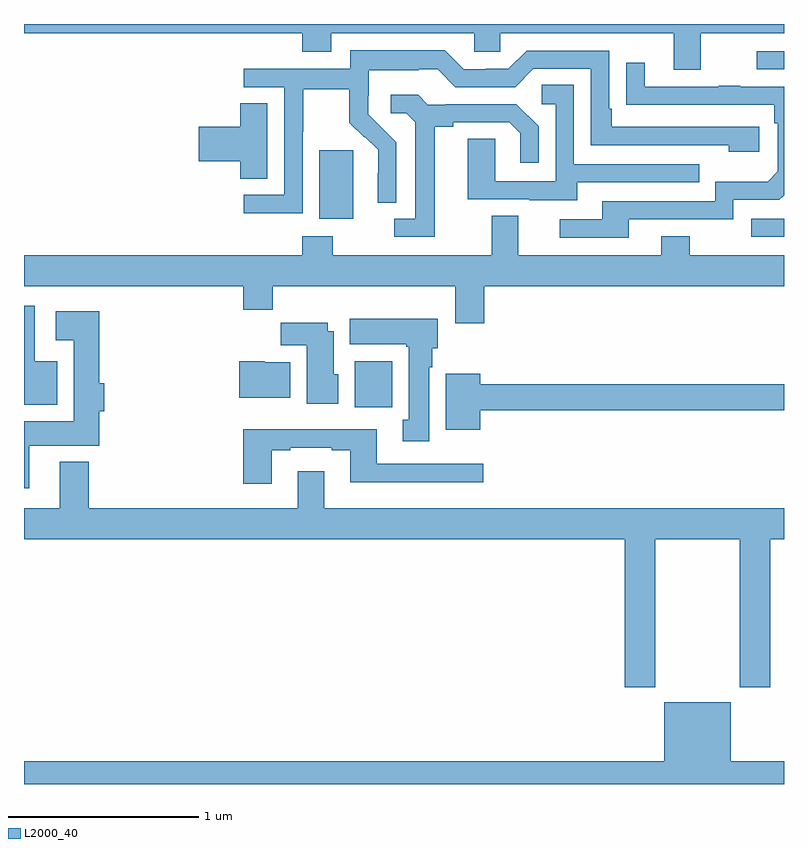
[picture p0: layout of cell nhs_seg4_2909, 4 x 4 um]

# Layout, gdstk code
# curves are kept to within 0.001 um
import gdstk
lib = gdstk.Library(unit=1e-6, precision=1e-09)
def R(c, l, rs):  # rectangles x0, y0, x1, y1
    for r in rs: c.add(gdstk.rectangle(r[:2], r[2:], *l))
def P(c, l, *ps):  # polygons
    for p in ps: c.add(gdstk.Polygon(p, *l))
L2000_40 = (2000, 40)

nhs_seg4_2909 = lib.new_cell('nhs_seg4_2909')
R(nhs_seg4_2909, L2000_40, [(266.741,762.884,266.938,763.126), (268.827,763.779,269,763.875), (266.555,763.874,266.734,764.235), (268.857,764.661,269,764.757)])
P(nhs_seg4_2909, L2000_40, [(268.561,764.852),(269,764.852),(269,764.9),(265,764.9),(265,764.852),(266.465,764.852),(266.465,764.753),(266.617,764.753),(266.617,764.852),(267.369,764.852),(267.369,764.754),(267.507,764.754),(267.507,764.852),(268.421,764.852),(268.421,764.658),(268.561,764.658)],
  [(266.466,764.332),(266.469,764.332),(266.469,764.556),(266.713,764.556),(266.713,764.381),(266.79,764.304),(266.793,764.307),(266.864,764.237),(266.864,764.114),(266.862,764.114),(266.862,763.96),(266.958,763.96),(266.958,764.278),(266.812,764.426),(266.812,764.523),(266.814,764.523),(266.814,764.657),(267.077,764.657),(267.077,764.661),(267.177,764.661),(267.27,764.568),(267.585,764.568),(267.681,764.664),(267.984,764.664),(267.984,764.262),(268.709,764.262),(268.709,764.228),(268.87,764.228),(268.87,764.358),(268.093,764.358),(268.093,764.455),(268.08,764.455),(268.08,764.76),(267.645,764.76),(267.549,764.664),(267.431,764.664),(267.431,764.661),(267.315,764.661),(267.215,764.761),(266.718,764.761),(266.718,764.664),(266.157,764.664),(266.157,764.568),(266.37,764.568),(266.37,764.001),(266.157,764.001),(266.157,763.903),(266.466,763.903)],
  [(268.183,763.872),(268.734,763.872),(268.734,763.974),(268.974,763.974),(269,764),(269,764.571),(268.769,764.571),(268.769,764.576),(268.657,764.576),(268.657,764.571),(268.267,764.571),(268.267,764.695),(268.171,764.695),(268.171,764.476),(268.948,764.475),(268.948,764.378),(268.968,764.378),(268.968,764.124),(268.915,764.071),(268.638,764.071),(268.638,763.968),(268.043,763.968),(268.043,763.872),(267.819,763.872),(267.819,763.776),(268.183,763.776)],
  [(267.913,764.067),(268.553,764.067),(268.553,764.163),(267.894,764.163),(267.894,764.579),(267.726,764.579),(267.726,764.478),(267.798,764.478),(267.798,764.073),(267.48,764.073),(267.48,764.297),(267.335,764.297),(267.335,763.977),(267.659,763.977),(267.659,763.973),(267.913,763.973)],
  [(267.163,764.36),(267.259,764.36),(267.259,764.382),(267.554,764.382),(267.611,764.325),(267.611,764.169),(267.708,764.169),(267.708,764.362),(267.592,764.478),(267.22,764.478),(267.22,764.475),(267.126,764.475),(267.074,764.527),(266.931,764.527),(266.931,764.43),(267.012,764.43),(267.059,764.383),(267.059,763.875),(266.949,763.875),(266.949,763.779),(267.163,763.779)],
  [(266.281,764.483),(266.138,764.483),(266.138,764.36),(265.92,764.36),(265.92,764.177),(266.138,764.177),(266.138,764.086),(266.281,764.086)],
  [(267.422,763.52),(269,763.52),(269,763.684),(268.503,763.684),(268.503,763.783),(268.355,763.783),(268.355,763.684),(267.601,763.684),(267.601,763.892),(267.461,763.892),(267.461,763.684),(266.625,763.684),(266.625,763.783),(266.465,763.783),(266.465,763.684),(265,763.684),(265,763.52),(266.153,763.52),(266.153,763.396),(266.309,763.396),(266.309,763.52),(267.269,763.52),(267.269,763.326),(267.422,763.326)],
  [(265.174,763.126),(265.057,763.126),(265.057,763.417),(265,763.417),(265,762.896),(265.174,762.896)],
  [(265.027,762.68),(265.397,762.68),(265.397,762.863),(265.423,762.863),(265.423,763.01),(265.397,763.01),(265.397,763.387),(265.167,763.387),(265.167,763.235),(265.262,763.235),(265.262,762.808),(265,762.808),(265,762.456),(265.027,762.456)],
  [(267.133,763.094),(267.148,763.094),(267.148,763.194),(267.178,763.194),(267.178,763.348),(266.714,763.348),(266.714,763.214),(267.013,763.214),(267.013,763.201),(267.026,763.201),(267.026,762.818),(266.993,762.818),(266.993,762.705),(267.133,762.705)],
  [(266.653,763.056),(266.629,763.056),(266.629,763.282),(266.599,763.282),(266.599,763.327),(266.35,763.327),(266.35,763.208),(266.489,763.208),(266.489,762.902),(266.653,762.902)],
  [(266.401,763.12),(266.268,763.12),(266.268,763.126),(266.132,763.126),(266.132,762.932),(266.401,762.932)],
  [(267.4,762.868),(269,762.868),(269,763.004),(267.4,763.004),(267.4,763.06),(267.221,763.06),(267.221,762.764),(267.4,762.764)],
  [(266.305,762.657),(266.401,762.657),(266.401,762.669),(266.621,762.669),(266.621,762.657),(266.717,762.657),(266.717,762.488),(267.418,762.488),(267.418,762.585),(266.857,762.585),(266.857,762.766),(266.153,762.766),(266.153,762.48),(266.305,762.48)],
  [(268.323,762.188),(268.768,762.188),(268.768,761.409),(268.928,761.409),(268.928,762.188),(269,762.188),(269,762.352),(266.581,762.352),(266.581,762.547),(266.441,762.547),(266.441,762.352),(265.34,762.352),(265.34,762.595),(265.187,762.595),(265.187,762.352),(265,762.352),(265,762.188),(268.163,762.188),(268.163,761.409),(268.323,761.409)],
  [(269,761.02),(268.72,761.02),(268.72,761.329),(268.37,761.329),(268.37,761.02),(265,761.02),(265,760.9),(269,760.9)])

lib.write_gds('nhs_seg4_2909.gds')
